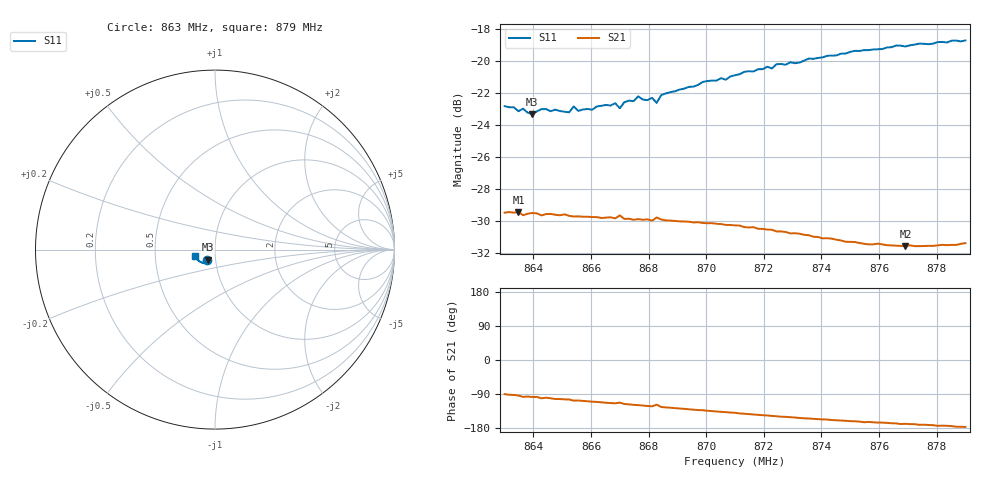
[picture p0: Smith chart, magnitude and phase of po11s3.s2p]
# HZ S RI R 50
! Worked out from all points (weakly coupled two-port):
!   101 points, 863 MHz to 879 MHz, reference 50 ohm
!   highest |S21| = -29.42 dB at 863.48 MHz (marker M1); lowest = -31.6 dB at 876.92 MHz (marker M2)
!   lowest |S11| = -23.3 dB at 863.96 MHz (marker M3), VSWR 1.15, Z = 46 - j5.18 ohm
!   |S11| at or under -10 dB: start of sweep to end of sweep
!   S12 and S22 are empty: the file has one direction only
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8.63e8  -0.0435 -0.0579  -9.1e-05 -0.0336  0 0  0 0
8.6348e8  -0.0406 -0.0567  -0.0022 -0.0337  0 0  0 0
8.6364e8  -0.0409 -0.0581  -0.00421 -0.0327  0 0  0 0
8.6396e8  -0.0391 -0.0561  -0.00447 -0.0333  0 0  0 0
8.6428e8  -0.0383 -0.0596  -0.00638 -0.0323  0 0  0 0
8.6524e8  -0.0345 -0.06  -0.00804 -0.0319  0 0  0 0
8.654e8  -0.0392 -0.0607  -0.00972 -0.0312  0 0  0 0
8.6556e8  -0.0361 -0.0599  -0.00952 -0.0313  0 0  0 0
8.6572e8  -0.0355 -0.0611  -0.0101 -0.0311  0 0  0 0
8.6684e8  -0.0362 -0.0644  -0.0133 -0.0294  0 0  0 0
8.67e8  -0.033 -0.0632  -0.0126 -0.0305  0 0  0 0
8.6716e8  -0.0362 -0.0651  -0.0142 -0.0289  0 0  0 0
8.6764e8  -0.038 -0.0677  -0.0156 -0.0281  0 0  0 0
8.6796e8  -0.0369 -0.066  -0.0166 -0.0274  0 0  0 0
8.6812e8  -0.0372 -0.0673  -0.017 -0.0268  0 0  0 0
8.6828e8  -0.0316 -0.067  -0.0151 -0.0287  0 0  0 0
8.6844e8  -0.0394 -0.0678  -0.0179 -0.0265  0 0  0 0
8.71e8  -0.0515 -0.0743  -0.0232 -0.02  0 0  0 0
8.7372e8  -0.0706 -0.0733  -0.0257 -0.0118  0 0  0 0
8.7644e8  -0.0935 -0.0591  -0.0259 -0.00599  0 0  0 0
8.7692e8  -0.0964 -0.0555  -0.0259 -0.00532  0 0  0 0
8.79e8  -0.1099 -0.0376  -0.027 -0.00159  0 0  0 0
